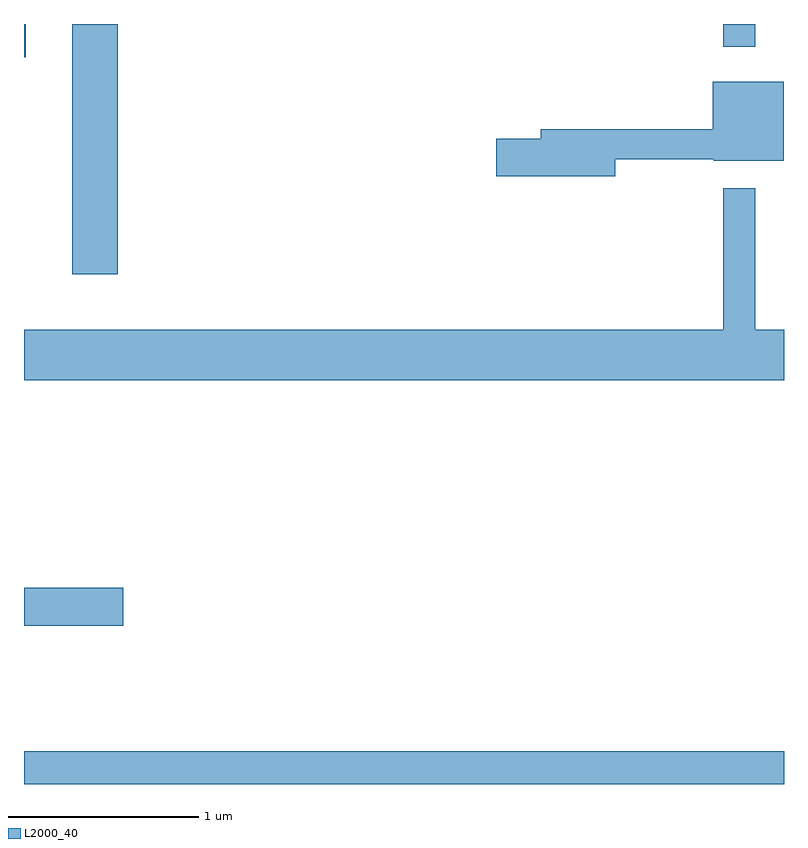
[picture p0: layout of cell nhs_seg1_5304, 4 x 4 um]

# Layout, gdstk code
import gdstk
lib = gdstk.Library(unit=1e-6, precision=1e-09)
def R(c, l, rs):  # rectangles x0, y0, x1, y1
    for r in rs: c.add(gdstk.rectangle(r[:2], r[2:], *l))
def P(c, l, *ps):  # polygons
    for p in ps: c.add(gdstk.Polygon(p, *l))
L2000_40 = (2000, 40)

nhs_seg1_5304 = lib.new_cell('nhs_seg1_5304')
R(nhs_seg1_5304, L2000_40, [(345.611,859.712,349.611,859.884), (345.611,860.546,346.134,860.744), (345.866,862.396,346.104,863.712), (345.611,863.536,345.619,863.712), (349.291,863.593,349.459,863.712)])
P(nhs_seg1_5304, L2000_40, [(348.724,863.001),(349.24,863.001),(349.24,862.991),(349.609,862.991),(349.609,863.409),(349.236,863.409),(349.236,863.159),(348.331,863.159),(348.331,863.109),(348.096,863.109),(348.096,862.911),(348.724,862.911)],
  [(349.611,862.104),(349.459,862.104),(349.459,862.848),(349.291,862.848),(349.291,862.104),(345.611,862.104),(345.611,861.836),(349.611,861.836)])

lib.write_gds('nhs_seg1_5304.gds')
